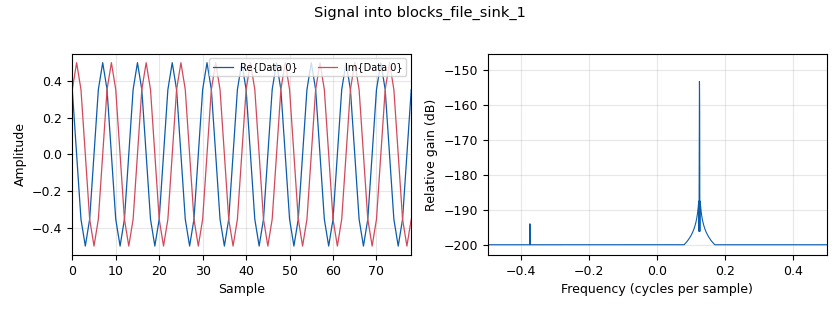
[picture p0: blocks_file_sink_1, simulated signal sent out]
<?xml version='1.0' encoding='utf-8'?>
<?grc format='1' created='3.7.13'?>
<flow_graph>
<block>
<key>options</key>
<param><key>id</key><value>generate_waveform_sine</value></param>
<param><key>author</key><value>Krishna Makhija</value></param>
<param><key>description</key><value>GR flograph for generating a calibration waveform. The waveform will be ON/OFF keyed to mitigate multipath, enable phase consistency and averaging.</value></param>
<param><key>generate_options</key><value>qt_gui</value></param>
<param><key>realtime_scheduling</key><value>1</value></param>
<param><key>run_options</key><value>run</value></param>
</block>
<block>
<key>variable</key>
<param><key>id</key><value>OFF</value></param>
<param><key>value</key><value>int(OFF_cycles*samps_per_period)</value></param>
</block>
<block>
<key>variable</key>
<param><key>id</key><value>OFF_cycles</value></param>
<param><key>value</key><value>15*ON_cycles</value></param>
</block>
<block>
<key>variable</key>
<param><key>id</key><value>ON</value></param>
<param><key>value</key><value>int(ON_cycles*samps_per_period)</value></param>
</block>
<block>
<key>variable</key>
<param><key>id</key><value>ON_cycles</value></param>
<param><key>value</key><value>512</value></param>
</block>
<block>
<key>variable</key>
<param><key>id</key><value>duty_cycle</value></param>
<param><key>value</key><value>OFF/ON</value></param>
</block>
<block>
<key>variable</key>
<param><key>id</key><value>head</value></param>
<param><key>value</key><value>ON+OFF</value></param>
</block>
<block>
<key>variable</key>
<param><key>id</key><value>ring_buffer_size</value></param>
<param><key>value</key><value>4096</value></param>
</block>
<block>
<key>variable</key>
<param><key>id</key><value>samp_rate</value></param>
<param><key>value</key><value>7.68e6/2</value></param>
</block>
<block>
<key>variable</key>
<param><key>id</key><value>samps_per_period</value></param>
<param><key>value</key><value>wave_samp_rate/wave_freq</value></param>
</block>
<block>
<key>variable</key>
<param><key>id</key><value>wave_freq</value></param>
<param><key>value</key><value>samp_rate/8</value></param>
</block>
<block>
<key>variable</key>
<param><key>id</key><value>wave_samp_rate</value></param>
<param><key>value</key><value>samp_rate</value></param>
</block>
<block>
<key>analog_sig_source_x</key>
<param><key>id</key><value>analog_sig_source_x_0</value></param>
<param><key>amp</key><value>1</value></param>
<param><key>freq</key><value>wave_freq</value></param>
<param><key>offset</key><value>0</value></param>
<param><key>type</key><value>complex</value></param>
<param><key>samp_rate</key><value>wave_samp_rate</value></param>
<param><key>waveform</key><value>analog.GR_COS_WAVE</value></param>
</block>
<block>
<key>blocks_add_xx</key>
<param><key>id</key><value>blocks_add_xx_0</value></param>
<param><key>_enabled</key><value>0</value></param>
<param><key>type</key><value>complex</value></param>
</block>
<block>
<key>blocks_file_sink</key>
<param><key>id</key><value>blocks_file_sink_1</value></param>
<param><key>file</key><value>/home/kmakhija/catkin_ws/src/Drone-Project-code/Payload Computer/sine_waveform</value></param>
<param><key>type</key><value>complex</value></param>
</block>
<block>
<key>blocks_file_source</key>
<param><key>id</key><value>blocks_file_source_1</value></param>
<param><key>_enabled</key><value>0</value></param>
<param><key>file</key><value>/home/kmakhija/Drone-Project/Payload Computer/sine_waveform</value></param>
<param><key>type</key><value>complex</value></param>
<param><key>repeat</key><value>True</value></param>
</block>
<block>
<key>blocks_head</key>
<param><key>id</key><value>blocks_head_0_0_0</value></param>
<param><key>num_items</key><value>head</value></param>
<param><key>type</key><value>complex</value></param>
</block>
<block>
<key>blocks_multiply_const_vxx</key>
<param><key>id</key><value>blocks_multiply_const_vxx_0</value></param>
<param><key>const</key><value>0.5</value></param>
<param><key>type</key><value>complex</value></param>
</block>
<block>
<key>blocks_multiply_xx</key>
<param><key>id</key><value>blocks_multiply_xx_0</value></param>
<param><key>type</key><value>complex</value></param>
<param><key>maxoutbuf</key><value>ring_buffer_size</value></param>
<param><key>minoutbuf</key><value>ring_buffer_size</value></param>
</block>
<block>
<key>blocks_throttle</key>
<param><key>id</key><value>blocks_throttle_0</value></param>
<param><key>maxoutbuf</key><value>ring_buffer_size</value></param>
<param><key>minoutbuf</key><value>ring_buffer_size</value></param>
<param><key>samples_per_second</key><value>samp_rate</value></param>
<param><key>type</key><value>complex</value></param>
</block>
<block>
<key>blocks_throttle</key>
<param><key>id</key><value>blocks_throttle_0_0</value></param>
<param><key>_enabled</key><value>0</value></param>
<param><key>maxoutbuf</key><value>ring_buffer_size</value></param>
<param><key>minoutbuf</key><value>ring_buffer_size</value></param>
<param><key>samples_per_second</key><value>samp_rate</value></param>
<param><key>type</key><value>complex</value></param>
</block>
<block>
<key>blocks_vector_source_x</key>
<param><key>id</key><value>blocks_vector_source_x_0</value></param>
<param><key>maxoutbuf</key><value>ring_buffer_size</value></param>
<param><key>minoutbuf</key><value>ring_buffer_size</value></param>
<param><key>type</key><value>complex</value></param>
<param><key>repeat</key><value>True</value></param>
<param><key>vector</key><value>np.hstack((np.zeros(OFF), np.ones(ON)))</value></param>
</block>
<block>
<key>blocks_vector_source_x</key>
<param><key>id</key><value>blocks_vector_source_x_1</value></param>
<param><key>comment</key><value>Create an initialization pulse that has higher amplitude for 
identification during post processing.</value></param>
<param><key>_enabled</key><value>0</value></param>
<param><key>type</key><value>complex</value></param>
<param><key>repeat</key><value>True</value></param>
<param><key>vector</key><value>np.hstack((2*np.ones(ON), np.zeros(OFF), np.zeros(pulses*PASS)))</value></param>
</block>
<block>
<key>import</key>
<param><key>id</key><value>import_0</value></param>
<param><key>import</key><value>import numpy as np</value></param>
</block>
<block>
<key>qtgui_time_sink_x</key>
<param><key>id</key><value>qtgui_time_sink_x_0</value></param>
<param><key>ctrlpanel</key><value>True</value></param>
<param><key>_enabled</key><value>0</value></param>
<param><key>color1</key><value>"blue"</value></param>
<param><key>label1</key><value></value></param>
<param><key>color2</key><value>"red"</value></param>
<param><key>label2</key><value></value></param>
<param><key>size</key><value>1024</value></param>
<param><key>srate</key><value>samp_rate</value></param>
<param><key>type</key><value>complex</value></param>
</block>
<connection><source_block_id>analog_sig_source_x_0</source_block_id><sink_block_id>blocks_multiply_xx_0</sink_block_id><source_key>0</source_key><sink_key>0</sink_key></connection>
<connection><source_block_id>blocks_add_xx_0</source_block_id><sink_block_id>blocks_multiply_xx_0</sink_block_id><source_key>0</source_key><sink_key>1</sink_key></connection>
<connection><source_block_id>blocks_file_source_1</source_block_id><sink_block_id>blocks_throttle_0_0</sink_block_id><source_key>0</source_key><sink_key>0</sink_key></connection>
<connection><source_block_id>blocks_head_0_0_0</source_block_id><sink_block_id>blocks_file_sink_1</sink_block_id><source_key>0</source_key><sink_key>0</sink_key></connection>
<connection><source_block_id>blocks_multiply_const_vxx_0</source_block_id><sink_block_id>blocks_head_0_0_0</sink_block_id><source_key>0</source_key><sink_key>0</sink_key></connection>
<connection><source_block_id>blocks_multiply_xx_0</source_block_id><sink_block_id>blocks_throttle_0</sink_block_id><source_key>0</source_key><sink_key>0</sink_key></connection>
<connection><source_block_id>blocks_throttle_0</source_block_id><sink_block_id>blocks_multiply_const_vxx_0</sink_block_id><source_key>0</source_key><sink_key>0</sink_key></connection>
<connection><source_block_id>blocks_throttle_0_0</source_block_id><sink_block_id>qtgui_time_sink_x_0</sink_block_id><source_key>0</source_key><sink_key>0</sink_key></connection>
<connection><source_block_id>blocks_vector_source_x_0</source_block_id><sink_block_id>blocks_add_xx_0</sink_block_id><source_key>0</source_key><sink_key>0</sink_key></connection>
<connection><source_block_id>blocks_vector_source_x_0</source_block_id><sink_block_id>blocks_multiply_xx_0</sink_block_id><source_key>0</source_key><sink_key>1</sink_key></connection>
<connection><source_block_id>blocks_vector_source_x_1</source_block_id><sink_block_id>blocks_add_xx_0</sink_block_id><source_key>0</source_key><sink_key>1</sink_key></connection>
</flow_graph>
